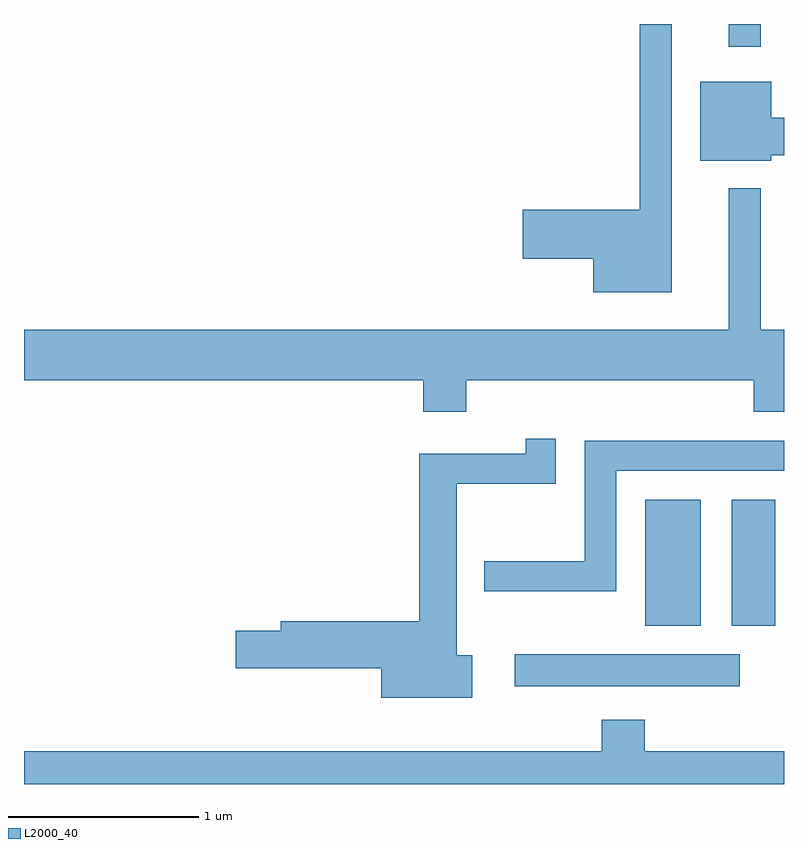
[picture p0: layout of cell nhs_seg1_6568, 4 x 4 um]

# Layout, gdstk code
import gdstk
lib = gdstk.Library(unit=1e-6, precision=1e-09)
def R(c, l, rs):  # rectangles x0, y0, x1, y1
    for r in rs: c.add(gdstk.rectangle(r[:2], r[2:], *l))
def P(c, l, *ps):  # polygons
    for p in ps: c.add(gdstk.Polygon(p, *l))
L2000_40 = (2000, 40)

nhs_seg1_6568 = lib.new_cell('nhs_seg1_6568')
R(nhs_seg1_6568, L2000_40, [(386.193,860.226,387.378,860.394), (386.881,860.546,387.174,861.209), (387.336,860.546,387.564,861.209), (387.321,863.593,387.489,863.712)])
P(nhs_seg1_6568, L2000_40, [(387.019,863.712),(386.851,863.712),(386.851,862.734),(386.236,862.734),(386.236,862.476),(386.606,862.476),(386.606,862.301),(387.019,862.301)],
  [(387.544,863.021),(387.611,863.021),(387.611,863.219),(387.544,863.219),(387.544,863.409),(387.171,863.409),(387.171,862.991),(387.544,862.991)],
  [(385.939,861.836),(387.451,861.836),(387.451,861.671),(387.611,861.671),(387.611,862.104),(387.489,862.104),(387.489,862.848),(387.321,862.848),(387.321,862.104),(383.611,862.104),(383.611,861.836),(385.711,861.836),(385.711,861.671),(385.939,861.671)],
  [(385.969,860.389),(385.889,860.389),(385.889,861.291),(386.409,861.291),(386.409,861.528),(386.251,861.528),(386.251,861.449),(385.691,861.449),(385.691,860.569),(384.961,860.569),(384.961,860.519),(384.726,860.519),(384.726,860.321),(385.491,860.321),(385.491,860.166),(385.969,860.166)],
  [(386.729,861.361),(387.611,861.361),(387.611,861.519),(386.561,861.519),(386.561,860.884),(386.033,860.884),(386.033,860.726),(386.729,860.726)],
  [(387.611,859.884),(386.879,859.884),(386.879,860.049),(386.651,860.049),(386.651,859.884),(383.611,859.884),(383.611,859.712),(387.611,859.712)])

lib.write_gds('nhs_seg1_6568.gds')
